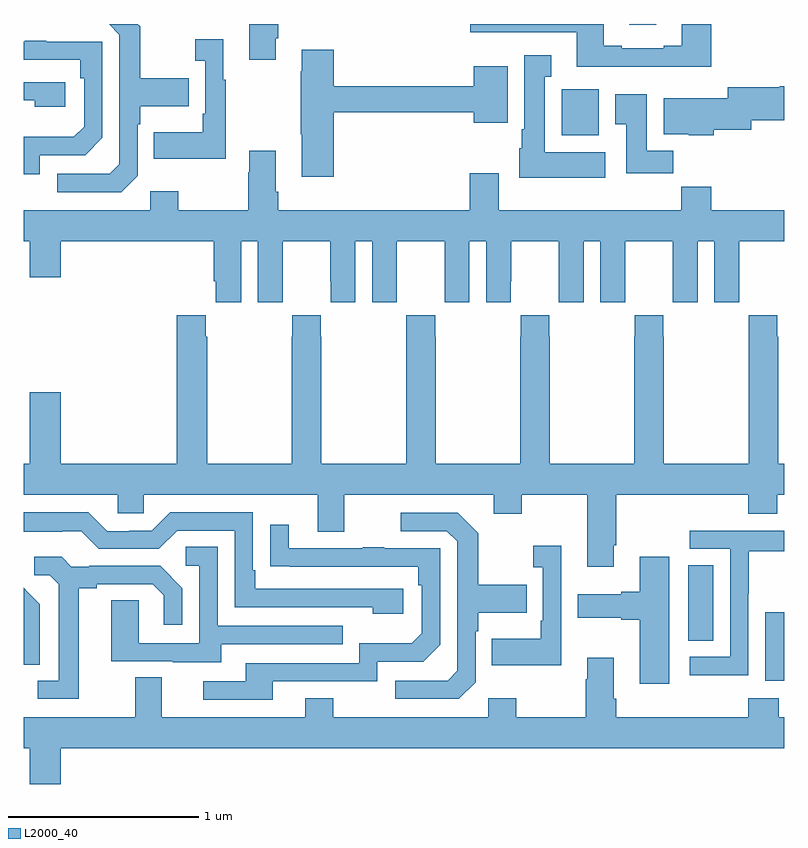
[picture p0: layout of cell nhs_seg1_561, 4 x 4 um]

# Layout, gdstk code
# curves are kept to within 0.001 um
import gdstk
lib = gdstk.Library(unit=1e-6, precision=1e-09)
def R(c, l, rs):  # rectangles x0, y0, x1, y1
    for r in rs: c.add(gdstk.rectangle(r[:2], r[2:], *l))
def P(c, l, *ps):  # polygons
    for p in ps: c.add(gdstk.Polygon(p, *l))
L2000_40 = (2000, 40)

nhs_seg1_561 = lib.new_cell('nhs_seg1_561')
R(nhs_seg1_561, L2000_40, [(144.899,558.746,145,559.107), (144.494,558.958,144.625,559.355), (143.828,561.614,144.025,561.856), (144.185,562.194,144.325,562.199)])
P(nhs_seg1_561, L2000_40, [(142.327,562.123),(142.34,562.123),(142.34,562.199),(142.187,562.199),(142.187,562.011),(142.327,562.011)],
  [(144.614,562.199),(144.461,562.199),(144.461,562.084),(144.365,562.084),(144.365,562.071),(144.145,562.071),(144.145,562.084),(144.049,562.084),(144.049,562.199),(143.349,562.199),(143.349,562.155),(143.909,562.155),(143.909,561.974),(144.614,561.974)],
  [(141.6,561.402),(141.6,561.671),(141.613,561.671),(141.613,561.767),(141.869,561.767),(141.869,561.915),(141.613,561.915),(141.613,562.187),(141.601,562.199),(141.207,562.199),(141.207,562.197),(141.45,562.197),(141.504,562.143),(141.504,561.462),(141.453,561.411),(141.177,561.411),(141.177,561.315),(141.513,561.315)],
  [(142.063,561.907),(142.051,561.907),(142.051,562.12),(141.903,562.12),(141.903,562.007),(141.954,562.007),(141.954,561.727),(141.942,561.727),(141.942,561.631),(141.685,561.631),(141.685,561.491),(142.063,561.491)],
  [(141.084,561.51),(141.324,561.51),(141.414,561.6),(141.414,562.107),(141.119,562.107),(141.119,562.112),(141.007,562.112),(141.007,562.107),(141,562.107),(141,562.011),(141.298,562.011),(141.298,561.914),(141.318,561.914),(141.318,561.66),(141.265,561.607),(141,561.607),(141,561.408),(141.084,561.408)],
  [(142.631,561.736),(143.366,561.736),(143.366,561.68),(143.545,561.68),(143.545,561.976),(143.366,561.976),(143.366,561.872),(142.631,561.872),(142.631,562.063),(142.463,562.063),(142.463,561.95),(142.456,561.95),(142.456,561.619),(142.463,561.619),(142.463,561.396),(142.631,561.396)],
  [(144.058,561.526),(143.74,561.526),(143.74,561.923),(143.773,561.923),(143.773,562.036),(143.633,562.036),(143.633,561.646),(143.618,561.646),(143.618,561.546),(143.606,561.546),(143.606,561.392),(144.058,561.392)],
  [(141.22,561.894),(141,561.894),(141,561.798),(141.059,561.798),(141.059,561.764),(141.22,561.764)],
  [(144.629,561.644),(144.826,561.644),(144.826,561.694),(145,561.694),(145,561.872),(144.974,561.872),(144.974,561.866),(144.702,561.866),(144.702,561.808),(144.365,561.808),(144.365,561.62),(144.498,561.62),(144.498,561.614),(144.629,561.614)],
  [(144.416,561.532),(144.277,561.532),(144.277,561.829),(144.11,561.829),(144.11,561.673),(144.167,561.673),(144.167,561.414),(144.416,561.414)],
  [(142.34,561.316),(142.327,561.316),(142.327,561.532),(142.187,561.532),(142.187,561.419),(142.18,561.419),(142.18,561.22),(141.813,561.22),(141.813,561.319),(141.666,561.319),(141.666,561.22),(141,561.22),(141,561.056),(141.032,561.056),(141.032,560.868),(141.196,560.868),(141.196,561.056),(142.001,561.056),(142.001,560.848),(142.01,560.848),(142.01,560.736),(142.144,560.736),(142.144,561.056),(142.232,561.056),(142.232,560.736),(142.362,560.736),(142.362,560.848),(142.363,560.848),(142.363,561.056),(142.613,561.056),(142.613,560.848),(142.614,560.848),(142.614,560.736),(142.744,560.736),(142.744,561.056),(142.832,561.056),(142.832,560.736),(142.962,560.736),(142.962,560.848),(142.963,560.848),(142.963,561.056),(143.213,561.056),(143.213,560.848),(143.214,560.848),(143.214,560.736),(143.344,560.736),(143.344,561.056),(143.432,561.056),(143.432,560.736),(143.562,560.736),(143.562,560.848),(143.563,560.848),(143.563,561.056),(143.813,561.056),(143.813,560.848),(143.814,560.848),(143.814,560.736),(143.944,560.736),(143.944,561.056),(144.032,561.056),(144.032,560.736),(144.162,560.736),(144.162,560.848),(144.163,560.848),(144.163,561.056),(144.413,561.056),(144.413,560.848),(144.414,560.848),(144.414,560.736),(144.544,560.736),(144.544,561.056),(144.632,561.056),(144.632,560.736),(144.762,560.736),(144.762,560.848),(144.763,560.848),(144.763,561.056),(145,561.056),(145,561.22),(144.614,561.22),(144.614,561.344),(144.457,561.344),(144.457,561.22),(143.497,561.22),(143.497,561.415),(143.345,561.415),(143.345,561.22),(142.34,561.22)],
  [(142.566,560.555),(142.563,560.555),(142.563,560.668),(142.413,560.668),(142.413,560.555),(142.411,560.555),(142.411,559.888),(141.966,559.888),(141.966,560.555),(141.959,560.555),(141.959,560.668),(141.806,560.668),(141.806,559.888),(141.196,559.888),(141.196,560.263),(141.032,560.263),(141.032,559.888),(141,559.888),(141,559.724),(141.495,559.724),(141.495,559.626),(141.633,559.626),(141.633,559.724),(142.547,559.724),(142.547,559.53),(142.687,559.53),(142.687,559.724),(143.471,559.724),(143.471,559.625),(143.619,559.625),(143.619,559.724),(143.963,559.724),(143.963,559.347),(144.103,559.347),(144.103,559.459),(144.116,559.459),(144.116,559.724),(144.809,559.724),(144.809,559.625),(144.961,559.625),(144.961,559.724),(145,559.724),(145,559.888),(144.966,559.888),(144.966,560.555),(144.963,560.555),(144.963,560.668),(144.813,560.668),(144.813,560.555),(144.811,560.555),(144.811,559.888),(144.366,559.888),(144.366,560.555),(144.363,560.555),(144.363,560.668),(144.213,560.668),(144.213,560.555),(144.211,560.555),(144.211,559.888),(143.766,559.888),(143.766,560.555),(143.763,560.555),(143.763,560.668),(143.613,560.668),(143.613,560.555),(143.611,560.555),(143.611,559.888),(143.166,559.888),(143.166,560.555),(143.163,560.555),(143.163,560.668),(143.013,560.668),(143.013,560.555),(143.011,560.555),(143.011,559.888),(142.566,559.888)],
  [(142.996,559.23),(142.219,559.23),(142.219,559.327),(142.206,559.327),(142.206,559.632),(141.771,559.632),(141.675,559.536),(141.557,559.536),(141.557,559.533),(141.441,559.533),(141.341,559.633),(141,559.633),(141,559.529),(141.203,559.529),(141.203,559.533),(141.303,559.533),(141.396,559.44),(141.711,559.44),(141.807,559.536),(142.11,559.536),(142.11,559.134),(142.835,559.134),(142.835,559.1),(142.996,559.1)],
  [(143.376,558.738),(143.376,559.007),(143.389,559.007),(143.389,559.103),(143.645,559.103),(143.645,559.251),(143.389,559.251),(143.389,559.523),(143.283,559.629),(142.983,559.629),(142.983,559.533),(143.226,559.533),(143.28,559.479),(143.28,558.798),(143.229,558.747),(142.953,558.747),(142.953,558.651),(143.289,558.651)],
  [(142.309,558.744),(142.86,558.744),(142.86,558.846),(143.1,558.846),(143.19,558.936),(143.19,559.443),(142.895,559.443),(142.895,559.448),(142.783,559.448),(142.783,559.443),(142.393,559.443),(142.393,559.567),(142.297,559.567),(142.297,559.348),(143.074,559.347),(143.074,559.25),(143.094,559.25),(143.094,558.996),(143.041,558.943),(142.764,558.943),(142.764,558.84),(142.169,558.84),(142.169,558.744),(141.945,558.744),(141.945,558.648),(142.309,558.648)],
  [(144.81,559.204),(144.813,559.204),(144.813,559.428),(145,559.428),(145,559.536),(144.501,559.536),(144.501,559.44),(144.714,559.44),(144.714,558.873),(144.501,558.873),(144.501,558.775),(144.81,558.775)],
  [(143.826,559.456),(143.679,559.456),(143.679,559.343),(143.73,559.343),(143.73,559.063),(143.718,559.063),(143.718,558.967),(143.461,558.967),(143.461,558.827),(143.826,558.827)],
  [(142.039,558.939),(142.679,558.939),(142.679,559.035),(142.02,559.035),(142.02,559.451),(141.852,559.451),(141.852,559.35),(141.924,559.35),(141.924,558.945),(141.606,558.945),(141.606,559.169),(141.461,559.169),(141.461,558.849),(141.785,558.849),(141.785,558.845),(142.039,558.845)],
  [(144.394,559.399),(144.239,559.399),(144.239,559.214),(144.143,559.214),(144.143,559.201),(143.913,559.201),(143.913,559.079),(144.143,559.079),(144.143,559.067),(144.239,559.067),(144.239,558.732),(144.394,558.732)],
  [(141.289,559.232),(141.385,559.232),(141.385,559.254),(141.68,559.254),(141.737,559.197),(141.737,559.041),(141.834,559.041),(141.834,559.234),(141.718,559.35),(141.346,559.35),(141.346,559.347),(141.252,559.347),(141.2,559.399),(141.057,559.399),(141.057,559.302),(141.138,559.302),(141.185,559.255),(141.185,558.747),(141.075,558.747),(141.075,558.651),(141.289,558.651)],
  [(141.084,559.15),(141.011,559.223),(141.012,559.224),(141,559.236),(141,558.832),(141.084,558.832)],
  [(145,558.556),(144.969,558.556),(144.969,558.655),(144.809,558.655),(144.809,558.556),(144.116,558.556),(144.116,558.652),(144.103,558.652),(144.103,558.868),(143.963,558.868),(143.963,558.755),(143.956,558.755),(143.956,558.556),(143.589,558.556),(143.589,558.655),(143.442,558.655),(143.442,558.556),(142.629,558.556),(142.629,558.655),(142.481,558.655),(142.481,558.556),(141.727,558.556),(141.727,558.764),(141.587,558.764),(141.587,558.556),(141,558.556),(141,558.392),(141.032,558.392),(141.032,558.204),(141.196,558.204),(141.196,558.392),(145,558.392)])

lib.write_gds('nhs_seg1_561.gds')
